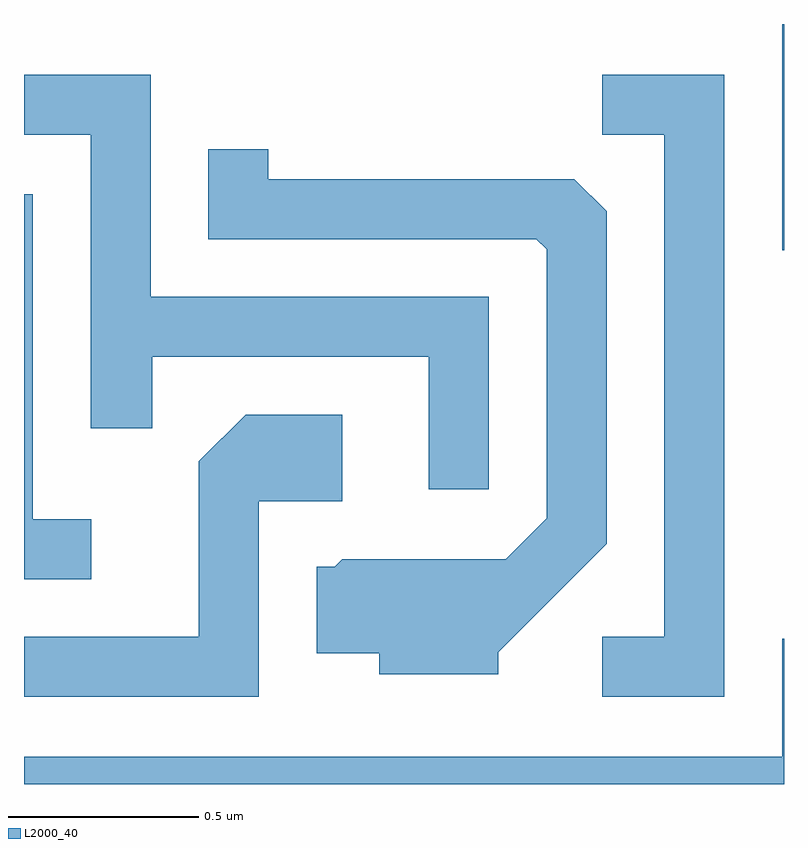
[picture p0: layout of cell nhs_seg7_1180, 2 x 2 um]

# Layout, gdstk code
import gdstk
lib = gdstk.Library(unit=1e-6, precision=1e-09)
def R(c, l, rs):  # rectangles x0, y0, x1, y1
    for r in rs: c.add(gdstk.rectangle(r[:2], r[2:], *l))
def P(c, l, *ps):  # polygons
    for p in ps: c.add(gdstk.Polygon(p, *l))
L2000_40 = (2000, 40)

nhs_seg7_1180 = lib.new_cell('nhs_seg7_1180')
R(nhs_seg7_1180, L2000_40, [(195.606,1753.656,195.611,1754.252)])
P(nhs_seg7_1180, L2000_40, [(195.454,1754.119),(195.133,1754.119),(195.133,1753.961),(195.296,1753.961),(195.296,1752.639),(195.133,1752.639),(195.133,1752.481),(195.454,1752.481)],
  [(194.834,1753.534),(193.944,1753.534),(193.944,1754.119),(193.611,1754.119),(193.611,1753.961),(193.786,1753.961),(193.786,1753.188),(193.949,1753.188),(193.949,1753.376),(194.676,1753.376),(194.676,1753.028),(194.834,1753.028)],
  [(194.859,1752.599),(195.144,1752.884),(195.144,1753.759),(195.059,1753.844),(194.254,1753.844),(194.254,1753.923),(194.096,1753.923),(194.096,1753.686),(194.959,1753.686),(194.986,1753.659),(194.986,1752.952),(194.879,1752.844),(194.449,1752.844),(194.429,1752.824),(194.381,1752.824),(194.381,1752.596),(194.546,1752.596),(194.546,1752.541),(194.859,1752.541)],
  [(193.788,1752.949),(193.634,1752.949),(193.634,1753.804),(193.611,1753.804),(193.611,1752.791),(193.788,1752.791)],
  [(194.229,1752.996),(194.449,1752.996),(194.449,1753.224),(194.194,1753.224),(194.071,1753.102),(194.071,1752.639),(193.611,1752.639),(193.611,1752.481),(194.229,1752.481)],
  [(195.611,1752.634),(195.606,1752.634),(195.606,1752.324),(193.611,1752.324),(193.611,1752.252),(195.611,1752.252)])

lib.write_gds('nhs_seg7_1180.gds')
